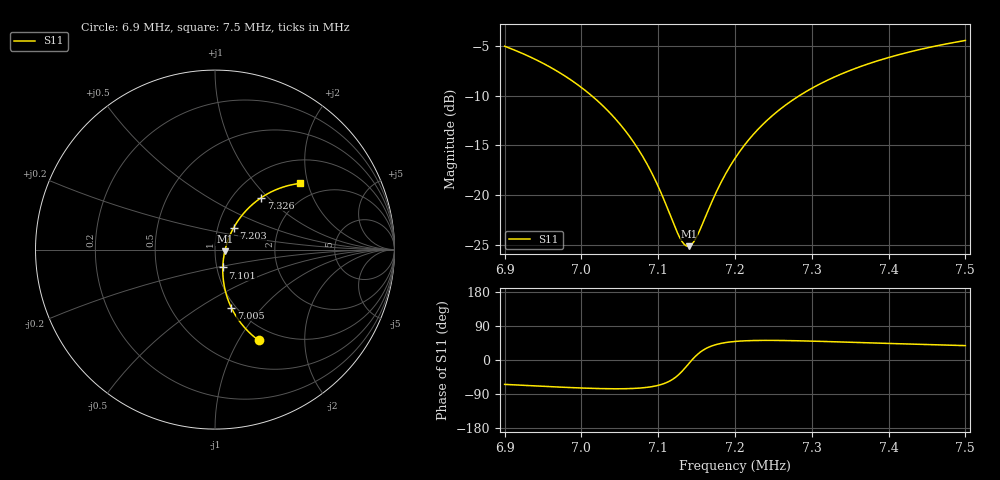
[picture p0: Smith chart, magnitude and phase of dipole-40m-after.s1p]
! same dipole, 20.22 m total, after adding 11 cm per leg
! Synthetic sweep generated for NereusSDR — not a real measurement.
! See docs/antenna/README.md for the values this must produce.
# MHZ S RI R 50
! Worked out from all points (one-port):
!   201 points, 6.9 MHz to 7.5 MHz, reference 50 ohm
!   lowest |S11| = -25.1 dB at 7.14 MHz (marker M1), VSWR 1.12, Z = 55.8 - j0.981 ohm
!   |S11| at or under -10 dB: 7.013 MHz to 7.284 MHz (270.6 kHz wide, 3.79 % of centre)
!   S11 on the Smith chart (normalised r, x): 6.9 MHz: 0.83, -1.22; 7.005 MHz: 0.95, -0.69; 7.101 MHz: 1.07, -0.21; 7.203 MHz: 1.19, +0.30; 7.326 MHz: 1.34, +0.91; 7.5 MHz: 1.55, +1.78
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6.9  0.2428 -0.5054
6.939  0.1784 -0.4492
6.975  0.1264 -0.3848
7.005  0.091 -0.3232
7.029  0.0692 -0.2698
7.05  0.0553 -0.221
7.065  0.0486 -0.1854
7.077  0.0452 -0.1566
7.089  0.0434 -0.1279
7.101  0.0434 -0.0993
7.125  0.0483 -0.0429
7.134  0.0518 -0.0223
7.14  0.0546 -0.00877
7.143  0.0561 -0.00206
7.149  0.0594 0.0112
7.179  0.081 0.0745
7.188  0.0889 0.0924
7.2  0.1004 0.1153
7.203  0.1034 0.1209
7.218  0.1193 0.1477
7.236  0.14 0.1775
7.254  0.162 0.2048
7.275  0.1889 0.2334
7.299  0.2208 0.262
7.326  0.2573 0.2891
7.35  0.2897 0.3092
7.425  0.3867 0.3508
7.5  0.4725 0.3687
